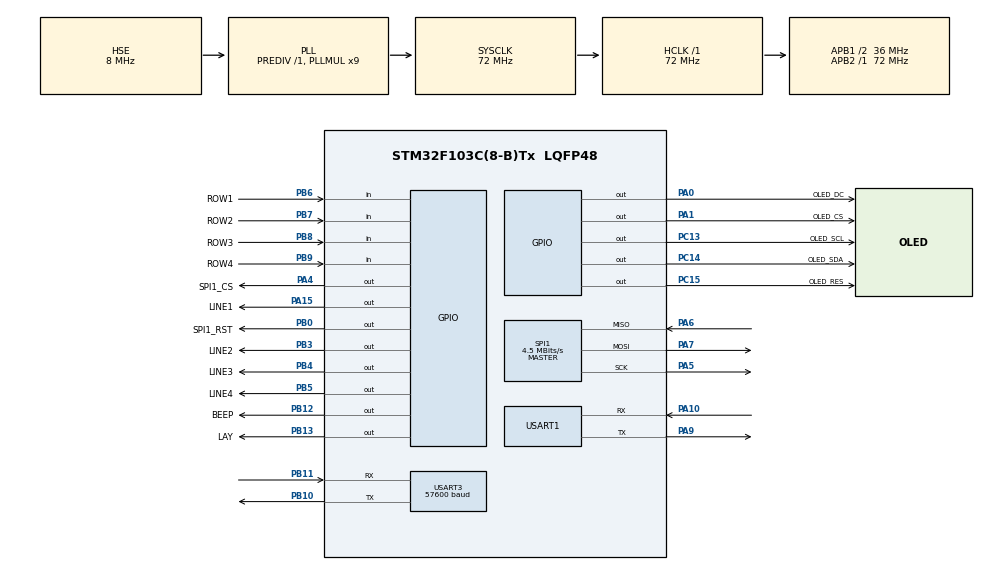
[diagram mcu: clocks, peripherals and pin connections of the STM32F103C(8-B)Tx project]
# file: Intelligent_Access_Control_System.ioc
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Dma.Request0=USART1_RX
Dma.Request1=USART1_TX
Dma.USART1_RX.0.Direction=DMA_PERIPH_TO_MEMORY
Dma.USART1_RX.0.Instance=DMA1_Channel5
Dma.USART1_RX.0.MemDataAlignment=DMA_MDATAALIGN_BYTE
Dma.USART1_RX.0.MemInc=DMA_MINC_ENABLE
Dma.USART1_RX.0.Mode=DMA_NORMAL
Dma.USART1_RX.0.PeriphDataAlignment=DMA_PDATAALIGN_BYTE
Dma.USART1_RX.0.PeriphInc=DMA_PINC_DISABLE
Dma.USART1_RX.0.Priority=DMA_PRIORITY_LOW
Dma.USART1_TX.1.Direction=DMA_MEMORY_TO_PERIPH
Dma.USART1_TX.1.Instance=DMA1_Channel4
Dma.USART1_TX.1.MemDataAlignment=DMA_MDATAALIGN_BYTE
Dma.USART1_TX.1.MemInc=DMA_MINC_ENABLE
Dma.USART1_TX.1.Mode=DMA_NORMAL
Dma.USART1_TX.1.PeriphDataAlignment=DMA_PDATAALIGN_BYTE
Dma.USART1_TX.1.PeriphInc=DMA_PINC_DISABLE
Dma.USART1_TX.1.Priority=DMA_PRIORITY_LOW
Mcu.Family=STM32F1
Mcu.Name=STM32F103C(8-B)Tx
Mcu.Package=LQFP48
NVIC.DMA1_Channel4_IRQn=true\:0\:0\:false\:false\:true\:false\:true\:true
NVIC.DMA1_Channel5_IRQn=true\:0\:0\:false\:false\:true\:false\:true\:true
NVIC.PriorityGroup=NVIC_PRIORITYGROUP_4
NVIC.SPI1_IRQn=true\:0\:0\:false\:false\:true\:true\:true\:true
NVIC.USART1_IRQn=true\:1\:0\:true\:false\:true\:true\:true\:true
NVIC.USART3_IRQn=true\:2\:0\:true\:false\:true\:true\:true\:true
PA0-WKUP.GPIO_Label=OLED_DC
PA0-WKUP.GPIO_ModeDefaultOutputPP=GPIO_MODE_OUTPUT_PP
PA0-WKUP.GPIO_PuPd=GPIO_PULLUP
PA0-WKUP.GPIO_Speed=GPIO_SPEED_FREQ_HIGH
PA0-WKUP.PinState=GPIO_PIN_SET
PA0-WKUP.Signal=GPIO_Output
PA1.GPIO_Label=OLED_CS
PA1.GPIO_ModeDefaultOutputPP=GPIO_MODE_OUTPUT_PP
PA1.GPIO_PuPd=GPIO_PULLUP
PA1.GPIO_Speed=GPIO_SPEED_FREQ_HIGH
PA1.PinState=GPIO_PIN_SET
PA1.Signal=GPIO_Output
PA10.Mode=Asynchronous
PA10.Signal=USART1_RX
PA13.Mode=Serial_Wire
PA13.Signal=SYS_JTMS-SWDIO
PA14.Mode=Serial_Wire
PA14.Signal=SYS_JTCK-SWCLK
PA15.GPIO_Label=LINE1
PA15.GPIO_Speed=GPIO_SPEED_FREQ_HIGH
PA15.PinState=GPIO_PIN_SET
PA15.Signal=GPIO_Output
PA4.GPIO_Label=SPI1_CS
PA4.GPIO_PuPd=GPIO_PULLUP
PA4.GPIO_Speed=GPIO_SPEED_FREQ_HIGH
PA4.PinState=GPIO_PIN_SET
PA4.Signal=GPIO_Output
PA5.Mode=Full_Duplex_Master
PA5.Signal=SPI1_SCK
PA6.Mode=Full_Duplex_Master
PA6.Signal=SPI1_MISO
PA7.Mode=Full_Duplex_Master
PA7.Signal=SPI1_MOSI
PA9.Mode=Asynchronous
PA9.Signal=USART1_TX
PB0.GPIO_Label=SPI1_RST
PB0.GPIO_ModeDefaultOutputPP=GPIO_MODE_OUTPUT_PP
PB0.GPIO_PuPd=GPIO_PULLUP
PB0.GPIO_Speed=GPIO_SPEED_FREQ_HIGH
PB0.PinState=GPIO_PIN_SET
PB0.Signal=GPIO_Output
PB10.Mode=Asynchronous
PB10.Signal=USART3_TX
PB11.Mode=Asynchronous
PB11.Signal=USART3_RX
PB12.GPIO_Label=BEEP
PB12.GPIO_ModeDefaultOutputPP=GPIO_MODE_OUTPUT_PP
PB12.GPIO_PuPd=GPIO_PULLUP
PB12.GPIO_Speed=GPIO_SPEED_FREQ_HIGH
PB12.PinState=GPIO_PIN_SET
PB12.Signal=GPIO_Output
PB13.GPIO_Label=LAY
PB13.GPIO_ModeDefaultOutputPP=GPIO_MODE_OUTPUT_PP
PB13.GPIO_PuPd=GPIO_PULLDOWN
PB13.GPIO_Speed=GPIO_SPEED_FREQ_HIGH
PB13.PinState=GPIO_PIN_SET
PB13.Signal=GPIO_Output
PB3.GPIO_Label=LINE2
PB3.GPIO_Speed=GPIO_SPEED_FREQ_HIGH
PB3.PinState=GPIO_PIN_SET
PB3.Signal=GPIO_Output
PB4.GPIO_Label=LINE3
PB4.GPIO_Speed=GPIO_SPEED_FREQ_HIGH
PB4.PinState=GPIO_PIN_SET
PB4.Signal=GPIO_Output
PB5.GPIO_Label=LINE4
PB5.GPIO_Speed=GPIO_SPEED_FREQ_HIGH
PB5.PinState=GPIO_PIN_SET
PB5.Signal=GPIO_Output
PB6.GPIO_Label=ROW1
PB6.GPIO_PuPd=GPIO_PULLUP
PB6.Signal=GPIO_Input
PB7.GPIO_Label=ROW2
PB7.GPIO_PuPd=GPIO_PULLUP
PB7.Signal=GPIO_Input
PB8.GPIO_Label=ROW3
PB8.GPIO_Mode=GPIO_MODE_INPUT
PB8.GPIO_PuPd=GPIO_PULLUP
PB8.Signal=GPIO_Input
PB9.GPIO_Label=ROW4
PB9.GPIO_PuPd=GPIO_PULLUP
PB9.Signal=GPIO_Input
PC13-TAMPER-RTC.GPIO_Label=OLED_SCL
PC13-TAMPER-RTC.GPIO_PuPd=GPIO_PULLUP
PC13-TAMPER-RTC.GPIO_Speed=GPIO_SPEED_FREQ_HIGH
PC13-TAMPER-RTC.PinState=GPIO_PIN_SET
PC13-TAMPER-RTC.Signal=GPIO_Output
PC14-OSC32_IN.GPIO_Label=OLED_SDA
PC14-OSC32_IN.GPIO_ModeDefaultOutputPP=GPIO_MODE_OUTPUT_PP
PC14-OSC32_IN.GPIO_PuPd=GPIO_PULLUP
PC14-OSC32_IN.GPIO_Speed=GPIO_SPEED_FREQ_HIGH
PC14-OSC32_IN.PinState=GPIO_PIN_SET
PC14-OSC32_IN.Signal=GPIO_Output
PC15-OSC32_OUT.GPIO_Label=OLED_RES
PC15-OSC32_OUT.GPIO_ModeDefaultOutputPP=GPIO_MODE_OUTPUT_PP
PC15-OSC32_OUT.GPIO_PuPd=GPIO_PULLUP
PC15-OSC32_OUT.GPIO_Speed=GPIO_SPEED_FREQ_HIGH
PC15-OSC32_OUT.PinState=GPIO_PIN_SET
PC15-OSC32_OUT.Signal=GPIO_Output
PD0-OSC_IN.Mode=HSE-External-Oscillator
PD0-OSC_IN.Signal=RCC_OSC_IN
PD1-OSC_OUT.Mode=HSE-External-Oscillator
PD1-OSC_OUT.Signal=RCC_OSC_OUT
ProjectManager.HeapSize=0x200
ProjectManager.StackSize=0x400
ProjectManager.TargetToolchain=MDK-ARM V5.32
RCC.AHBFreq_Value=72000000
RCC.APB1CLKDivider=RCC_HCLK_DIV2
RCC.APB1Freq_Value=36000000
RCC.APB1TimFreq_Value=72000000
RCC.APB2Freq_Value=72000000
RCC.APB2TimFreq_Value=72000000
RCC.HCLKFreq_Value=72000000
RCC.PLLMUL=RCC_PLL_MUL9
RCC.PLLSourceVirtual=RCC_PLLSOURCE_HSE
RCC.SYSCLKFreq_VALUE=72000000
RCC.SYSCLKSource=RCC_SYSCLKSOURCE_PLLCLK
RCC.USBFreq_Value=72000000
SPI1.BaudRatePrescaler=SPI_BAUDRATEPRESCALER_16
SPI1.CalculateBaudRate=4.5 MBits/s
SPI1.Direction=SPI_DIRECTION_2LINES
SPI1.Mode=SPI_MODE_MASTER
SPI1.VirtualType=VM_MASTER
USART1.VirtualMode=VM_ASYNC
USART3.BaudRate=57600
USART3.VirtualMode=VM_ASYNC
board=custom

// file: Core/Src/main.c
/* USER CODE BEGIN Header */
/**
  ******************************************************************************
  * @file           : main.c
  * @brief          : Main program body
  ******************************************************************************
  * @attention
  *
  * Copyright (c) 2026 STMicroelectronics.
  * All rights reserved.
  *
  * This software is licensed under terms that can be found in the LICENSE file
  * in the root directory of this software component.
  * If no LICENSE file comes with this software, it is provided AS-IS.
  *
  ******************************************************************************
  */
/* USER CODE END Header */
#include "main.h"
#include "dma.h"
#include "spi.h"
#include "usart.h"
#include "gpio.h"

/* USER CODE BEGIN Includes */
#include "oled.h"
#include "Matrix_Keyboard.h"
#include "RC522.h"
#include "flash.h"
#include "ui.h"
#include <string.h>
#include "beep_lay.h"
#include "AS608.h"
#include "esp8266.h"
/* USER CODE END Includes */

/* USER CODE BEGIN PTD */
typedef enum {
    MODE_MAIN,
    MODE_PIN,
    MODE_PIN_SETTING,
    MODE_PIN_CONFIRM,
    MODE_NFC_REGISTER,
    MODE_NFC_UNREGISTER,
    MODE_FINGER_REGISTER,
    MODE_FINGER_UNREGISTER
} SystemMode;
/* USER CODE END PTD */

/* USER CODE BEGIN PD */
#define MAX_NFC_RETRY 3
#define MAX_PIN_RETRY 3
#define RELAY_ON_TIME 5000
/* USER CODE END PD */

/* USER CODE BEGIN PV */
SystemMode currentMode = MODE_MAIN;
uint8_t nfcRetryCount = 0;
uint8_t pinRetryCount = 0;
uint8_t oldPinRetryCount = 0;
uint8_t fingerRetryCount = 0;
uint8_t currentPin[4];
uint8_t pinIndex = 0;
uint8_t newPin[4];
uint8_t confirmPin[4];
uint8_t isPinSettingMode = 0;
/* USER CODE END PV */

void SystemClock_Config(void);
/* USER CODE BEGIN PFP */
void ClearPIN(void);
void CheckPIN(void);
void CheckPinSetting(void);
void SaveNewPIN(void);
uint8_t KeyToDigit(uint8_t key);
uint32_t ReadNFCID(void);
void RegisterNFC(void);
void UnregisterNFC(void);
void RegisterFingerprint(void);
void UnregisterFingerprint(void);
/* USER CODE END PFP */

/* USER CODE BEGIN 0 */
void ClearPIN(void)
{
    memset(currentPin, 0, sizeof(currentPin));
    memset(newPin, 0, sizeof(newPin));
    memset(confirmPin, 0, sizeof(confirmPin));
    pinIndex = 0;
    OLED_ShowString(32, 8, (uint8_t*)"    ", 8, 1);
    OLED_Refresh();
}

void welcome_with_pin(uint8_t* pin) {
    OLED_ShowString(10, 0, (uint8_t*)"Welcome", 8, 1);
    char pinStr[5];
    sprintf(pinStr, "%d%d%d%d", pin[0], pin[1], pin[2], pin[3]);
    OLED_ShowString(0, 16, (uint8_t*)pinStr, 8, 1);
    OLED_ShowString(0, 32, (uint8_t*)"Press KEY16 for PIN", 8, 1);
    OLED_Refresh();
}

// 读取NFC卡片ID
// 返回值：卡片ID，0表示没有卡片靠近
uint32_t ReadNFCID(void)
{
    uint8_t cardType[2];
    uint8_t cardID[4];
    char status;

    // 请求卡片
    status = PCD_Request(PICC_REQIDL, cardType);
    if(status != PCD_OK)
    {
        return 0; // 没有卡片靠近
    }

    // 防碰撞，读取卡片ID
    status = PCD_Anticoll(cardID);
    if(status != PCD_OK)
    {
        return 0; // 读取卡片ID失败
    }

    // 将4字节的卡片ID转换为32位整数
    uint32_t nfcId = (cardID[0] << 24) | (cardID[1] << 16) | (cardID[2] << 8) | cardID[3];

    return nfcId;
}

// 注册NFC卡片
void RegisterNFC(void)
{
    uint32_t nfcId = 0;
    uint32_t startTime = HAL_GetTick();
    uint32_t timeout = 10000; // 10秒超时

    // 等待用户放置卡片，最多等待10秒
    while((HAL_GetTick() - startTime) < timeout)
    {
        nfcId = ReadNFCID();
        if(nfcId != 0)
        {
            break; // 读取到卡片ID，退出循环
        }
        HAL_Delay(100); // 短暂延迟，避免频繁读取
    }

    if(nfcId == 0)
    {
        // 超时，没有卡片靠近
        OLED_ShowString(0, 24, (uint8_t*)"Timeout!", 8, 1);
        OLED_Refresh();
        HAL_Delay(1000);
    } else {
        // 尝试添加到FLASH
        uint8_t result = Flash_AddNFCID(nfcId);

        if(result == 0)
        {
            // 注册成功
            OLED_ShowString(0, 24, (uint8_t*)"Registered!", 8, 1);
            OLED_Refresh();
            HAL_Delay(1000);
        } else if(result == 1)
        {
            // 已满
            OLED_ShowString(0, 24, (uint8_t*)"Full!", 8, 1);
            OLED_Refresh();
            HAL_Delay(1000);
        } else if(result == 2)
        {
            // 已存在
            OLED_ShowString(0, 24, (uint8_t*)"Exists!", 8, 1);
            OLED_Refresh();
            HAL_Delay(1000);
        }
    }

    // 完全清除OLED屏幕
    OLED_Clear();
    OLED_Refresh();

    // 重新绘制主页面内容（welcome页面）
    welcome();

    // 返回主页面
    currentMode = MODE_MAIN;
}

// 注销NFC卡片
void UnregisterNFC(void)
{
    uint32_t nfcId = 0;
    uint32_t startTime = HAL_GetTick();
    uint32_t timeout = 10000; // 10秒超时

    // 等待用户放置卡片，最多等待10秒
    while((HAL_GetTick() - startTime) < timeout)
    {
        nfcId = ReadNFCID();
        if(nfcId != 0)
        {
            break; // 读取到卡片ID，退出循环
        }
        HAL_Delay(100); // 短暂延迟，避免频繁读取
    }

    if(nfcId == 0)
    {
        // 超时，没有卡片靠近
        OLED_ShowString(0, 24, (uint8_t*)"Timeout!", 8, 1);
        OLED_Refresh();
        HAL_Delay(1000);
    } else {
        // 尝试从FLASH中删除
        uint8_t result = Flash_RemoveNFCID(nfcId);

        if(result == 0)
        {
            // 注销成功
            OLED_ShowString(0, 24, (uint8_t*)"Unregistered!", 8, 1);
            OLED_Refresh();
            HAL_Delay(1000);
        } else if(result == 1)
        {
            // 未找到
            OLED_ShowString(0, 24, (uint8_t*)"Not found!", 8, 1);
            OLED_Refresh();
            HAL_Delay(1000);
        }
    }

    // 完全清除OLED屏幕
    OLED_Clear();
    OLED_Refresh();

    // 重新绘制主页面内容（welcome页面）
    welcome();

    // 返回主页面
    currentMode = MODE_MAIN;
}

// 注册指纹
void RegisterFingerprint(void)
{
    uint8_t result;
    uint8_t processnum = 0;
    uint8_t i = 0;
    uint16_t pageID = 0;
    uint8_t found = 0;
    uint16_t score = 0;
    uint16_t tempPageID = 0;

    while(1)
    {
        switch(processnum)
        {
            case 0:
                // 清除显示
                OLED_ShowString(0, 0, (uint8_t*)"                ", 8, 1);
                OLED_ShowString(0, 8, (uint8_t*)"                ", 8, 1);
                OLED_ShowString(0, 16, (uint8_t*)"                ", 8, 1);
                OLED_ShowString(0, 24, (uint8_t*)"                ", 8, 1);
                OLED_Refresh();
                HAL_Delay(500); // 增加延迟时间

                i++;
                OLED_ShowString(0, 0, (uint8_t*)"Place finger", 8, 1);
                OLED_ShowString(0, 8, (uint8_t*)"to register", 8, 1);
                OLED_ShowString(0, 16, (uint8_t*)"First scan", 8, 1);
                OLED_ShowString(0, 24, (uint8_t*)"                ", 8, 1);
                OLED_Refresh();
                HAL_Delay(1000); // 增加延迟时间

                // 采集指纹图像
                result = AS608_GetImage();
                if(result == AS608_ACK_OK)
                {
                    // 生成特征
                    result = AS608_GenChar(AS608_BUFFER_CHAR1);
                    if(result == AS608_ACK_OK)
                    {
                        OLED_ShowString(0, 16, (uint8_t*)"First ok!        ", 8, 1);
                        OLED_Refresh();
                        HAL_Delay(1500); // 增加延迟时间
                        i = 0;
                        processnum = 1; // 进入第二步
                    }
                    else
                    {
                        OLED_ShowString(0, 24, (uint8_t*)"Gen failed!      ", 8, 1);
                        OLED_Refresh();
                        HAL_Delay(2000); // 增加延迟时间
                    }
                }
                else
                {
                    if(i % 5 == 0)
                    {
                        OLED_ShowString(0, 24, (uint8_t*)"No finger!       ", 8, 1);
                        OLED_Refresh();
                        HAL_Delay(1000); // 增加延迟时间
                        OLED_ShowString(0, 24, (uint8_t*)"                ", 8, 1);
                        OLED_Refresh();
                    }
                }
                break;

            case 1:
                i++;
                OLED_ShowString(0, 16, (uint8_t*)"Place again      ", 8, 1);
                OLED_ShowString(0, 24, (uint8_t*)"                ", 8, 1);
                OLED_Refresh();
                HAL_Delay(1000); // 增加延迟时间

                // 第二次采集指纹
                result = AS608_GetImage();
                if(result == AS608_ACK_OK)
                {
                    // 生成第二个特征
                    result = AS608_GenChar(AS608_BUFFER_CHAR2);
                    if(result == AS608_ACK_OK)
                    {
                        OLED_ShowString(0, 16, (uint8_t*)"Second ok!       ", 8, 1);
                        OLED_Refresh();
                        HAL_Delay(1500); // 增加延迟时间
                        i = 0;
                        processnum = 2; // 进入第三步
                    }
                    else
                    {
                        OLED_ShowString(0, 24, (uint8_t*)"Gen failed!      ", 8, 1);
                        OLED_Refresh();
                        HAL_Delay(2000); // 增加延迟时间
                    }
                }
                else
                {
                    if(i % 5 == 0)
                    {
                        OLED_ShowString(0, 24, (uint8_t*)"No finger!       ", 8, 1);
                        OLED_Refresh();
                        HAL_Delay(1000); // 增加延迟时间
                        OLED_ShowString(0, 24, (uint8_t*)"                ", 8, 1);
                        OLED_Refresh();
                    }
                }
                break;

            case 2:
                // 比较两个特征
                OLED_ShowString(0, 16, (uint8_t*)"Matching...      ", 8, 1);
                OLED_ShowString(0, 24, (uint8_t*)"                ", 8, 1);
                OLED_Refresh();
                HAL_Delay(1000); // 增加延迟时间

                result = AS608_Match(&score);
                if(result == AS608_ACK_OK)
                {
                    OLED_ShowString(0, 16, (uint8_t*)"Matched!         ", 8, 1);
                    OLED_Refresh();
                    HAL_Delay(1500); // 增加延迟时间
                    processnum = 3; // 进入第四步
                }
                else
                {
                    OLED_ShowString(0, 24, (uint8_t*)"Not same!        ", 8, 1);
                    OLED_Refresh();
                    HAL_Delay(2000); // 增加延迟时间
                    processnum = 0; // 重新开始
                }
                break;

            case 3:
                // 合并特征
                OLED_ShowString(0, 16, (uint8_t*)"Processing...    ", 8, 1);
                OLED_ShowString(0, 24, (uint8_t*)"                ", 8, 1);
                OLED_Refresh();
                HAL_Delay(1000); // 增加延迟时间

                result = AS608_RegModel();
                if(result == AS608_ACK_OK)
                {
                    OLED_ShowString(0, 16, (uint8_t*)"Merged!          ", 8, 1);
                    OLED_Refresh();
                    HAL_Delay(1500); // 增加延迟时间
                    processnum = 4; // 进入第五步
                }
                else
                {
                    OLED_ShowString(0, 24, (uint8_t*)"Merge failed!    ", 8, 1);
                    OLED_Refresh();
                    HAL_Delay(2000); // 增加延迟时间
                    processnum = 0; // 重新开始
                }
                break;

            case 4:
                // 查找可用的ID
                OLED_ShowString(0, 16, (uint8_t*)"Finding ID...    ", 8, 1);
                OLED_ShowString(0, 24, (uint8_t*)"                ", 8, 1);
                OLED_Refresh();
                HAL_Delay(1000); // 增加延迟时间

                // 逐个查找可用ID，从0开始
                pageID = 0;
                found = 0;

                // 先检查指纹库是否为空
                uint16_t score = 0;
                uint16_t tempID = 0;
                result = AS608_Search(AS608_BUFFER_CHAR1, 0, AS608_MAX_FINGER_NUM, &tempID, &score);

                if(result == AS608_ACK_NO_FOUND)
                {
                    // 指纹库为空，直接使用ID 0
                    pageID = 0;
                    found = 1;
                }
                else
                {
                    // 指纹库不为空，逐个查找可用ID
                    while(pageID < AS608_MAX_FINGER_NUM)
                    {
                        // 尝试加载指定ID的指纹
                        result = AS608_LoadChar(AS608_BUFFER_CHAR1, pageID);
                        if(result != AS608_ACK_OK)
                        {
                            // 该ID不存在，可用
                            found = 1;
                            break;
                        }
                        pageID++;
                    }

                    if(!found)
                    {
                        // 如果没找到可用ID，从0开始重新查找
                        pageID = 0;
                        found = 1;
                    }
                }

                // 显示找到的ID
                char id_str[16];
                sprintf(id_str, "ID:%d            ", pageID);
                OLED_ShowString(0, 24, (uint8_t*)id_str, 8, 1);
                OLED_Refresh();
                HAL_Delay(1000); // 增加延迟时间

                processnum = 5; // 进入第六步
                break;

            case 5:
                // 存储指纹
                OLED_ShowString(0, 16, (uint8_t*)"Storing...       ", 8, 1);
                OLED_ShowString(0, 24, (uint8_t*)"                ", 8, 1);
                OLED_Refresh();
                HAL_Delay(1000); // 增加延迟时间

                result = AS608_StoreChar(AS608_BUFFER_CHAR2, pageID);
                if(result == AS608_ACK_OK)
                {
                    // 清除旧内容
                    OLED_ShowString(0, 16, (uint8_t*)"                ", 8, 1);
                    OLED_ShowString(0, 24, (uint8_t*)"                ", 8, 1);
                    OLED_Refresh();

                    // 显示注册成功信息
                    OLED_ShowString(0, 0, (uint8_t*)"Registered!      ", 8, 1);
                    char id_str[16];
                    sprintf(id_str, "ID:%d            ", pageID);
                    OLED_ShowString(0, 8, (uint8_t*)id_str, 8, 1);
                    OLED_ShowString(0, 16, (uint8_t*)"Success!         ", 8, 1);
                    OLED_ShowString(0, 24, (uint8_t*)"                ", 8, 1);
                    OLED_Refresh();
                    HAL_Delay(2500); // 增加延迟时间，确保用户能看到
                    goto cleanup;
                }
                else
                {
                    OLED_ShowString(0, 24, (uint8_t*)"Store failed!    ", 8, 1);
                    OLED_Refresh();
                    HAL_Delay(2000); // 增加延迟时间
                    processnum = 0; // 重新开始
                }
                break;
        }
        HAL_Delay(100);
    }

cleanup:
    // 完全清除OLED屏幕
    OLED_Clear();
    OLED_Refresh();

    // 重新绘制主页面内容（welcome页面）
    welcome();

    // 返回主页面
    currentMode = MODE_MAIN;
}

void DeleteFingerprint(void)
{
    uint8_t result;
    uint8_t processnum = 0;
    uint8_t i = 0;
    uint16_t fingerID = 0;
    uint16_t score = 0;

    while(1)
    {
        switch(processnum)
        {
            case 0:
                // 清除显示
                OLED_ShowString(0, 0, (uint8_t*)"                ", 8, 1);
                OLED_ShowString(0, 8, (uint8_t*)"                ", 8, 1);
                OLED_ShowString(0, 16, (uint8_t*)"                ", 8, 1);
                OLED_ShowString(0, 24, (uint8_t*)"                ", 8, 1);
                OLED_Refresh();
                HAL_Delay(500); // 增加延迟时间

                i++;
                OLED_ShowString(0, 0, (uint8_t*)"Place finger", 8, 1);
                OLED_ShowString(0, 8, (uint8_t*)"to delete", 8, 1);
                OLED_ShowString(0, 16, (uint8_t*)"Scan finger", 8, 1);
                OLED_ShowString(0, 24, (uint8_t*)"                ", 8, 1);
                OLED_Refresh();
                HAL_Delay(1000); // 增加延迟时间

                // 采集指纹图像
                result = AS608_GetImage();
                if(result == AS608_ACK_OK)
                {
                    // 生成特征
                    result = AS608_GenChar(AS608_BUFFER_CHAR1);
                    if(result == AS608_ACK_OK)
                    {
                        OLED_ShowString(0, 16, (uint8_t*)"Finger scanned!  ", 8, 1);
                        OLED_Refresh();
                        HAL_Delay(1500); // 增加延迟时间
                        i = 0;
                        processnum = 1; // 进入第二步
                    }
                    else
                    {
                        OLED_ShowString(0, 24, (uint8_t*)"Gen failed!      ", 8, 1);
                        OLED_Refresh();
                        HAL_Delay(2000); // 增加延迟时间
                    }
                }
                else
                {
                    if(i % 5 == 0)
                    {
                        OLED_ShowString(0, 24, (uint8_t*)"No finger!       ", 8, 1);
                        OLED_Refresh();
                        HAL_Delay(1000); // 增加延迟时间
                        OLED_ShowString(0, 24, (uint8_t*)"                ", 8, 1);
                        OLED_Refresh();
                    }
                }
                break;

            case 1:
                // 搜索指纹
                OLED_ShowString(0, 16, (uint8_t*)"Searching...     ", 8, 1);
                OLED_ShowString(0, 24, (uint8_t*)"                ", 8, 1);
                OLED_Refresh();
                HAL_Delay(1000); // 增加延迟时间

                result = AS608_Search(AS608_BUFFER_CHAR1, 0, AS608_MAX_FINGER_NUM, &fingerID, &score);
                if(result == AS608_ACK_OK)
                {
                    // 找到指纹，显示ID
                    char id_str[16];
                    sprintf(id_str, "Found ID:%d       ", fingerID);
                    OLED_ShowString(0, 16, (uint8_t*)id_str, 8, 1);
                    OLED_Refresh();
                    HAL_Delay(1500); // 增加延迟时间
                    processnum = 2; // 进入第三步
                }
                else if(result == AS608_ACK_NO_FOUND)
                {
                    OLED_ShowString(0, 24, (uint8_t*)"Not found!       ", 8, 1);
                    OLED_Refresh();
                    HAL_Delay(2000); // 增加延迟时间
                    goto cleanup;
                }
                else
                {
                    OLED_ShowString(0, 24, (uint8_t*)"Search failed!   ", 8, 1);
                    OLED_Refresh();
                    HAL_Delay(2000); // 增加延迟时间
                    goto cleanup;
                }
                break;

            case 2:
                // 删除指纹
                OLED_ShowString(0, 16, (uint8_t*)"Deleting...      ", 8, 1);
                OLED_ShowString(0, 24, (uint8_t*)"                ", 8, 1);
                OLED_Refresh();
                HAL_Delay(1000); // 增加延迟时间

                result = AS608_DeleteChar(fingerID, 1);
                if(result == AS608_ACK_OK)
                {
                    // 清除旧内容
                    OLED_ShowString(0, 16, (uint8_t*)"                ", 8, 1);
                    OLED_ShowString(0, 24, (uint8_t*)"                ", 8, 1);
                    OLED_Refresh();

                    // 显示删除成功信息
                    OLED_ShowString(0, 0, (uint8_t*)"Deleted!         ", 8, 1);
                    char id_str[16];
                    sprintf(id_str, "ID:%d            ", fingerID);
                    OLED_ShowString(0, 8, (uint8_t*)id_str, 8, 1);
                    OLED_ShowString(0, 16, (uint8_t*)"Success!         ", 8, 1);
                    OLED_ShowString(0, 24, (uint8_t*)"                ", 8, 1);
                    OLED_Refresh();
                    HAL_Delay(1000); // 增加延迟时间，确保用户能看到

                    // 再次搜索指纹，确认删除成功
                    OLED_ShowString(0, 16, (uint8_t*)"Verifying...     ", 8, 1);
                    OLED_Refresh();
                    HAL_Delay(1000);

                    // 重新采集指纹图像
                    result = AS608_GetImage();
                    if(result == AS608_ACK_OK)
                    {
                        // 生成特征
                        result = AS608_GenChar(AS608_BUFFER_CHAR1);
                        if(result == AS608_ACK_OK)
                        {
                            // 搜索指纹
                            uint16_t verifyID = 0;
                            uint16_t verifyScore = 0;
                            result = AS608_Search(AS608_BUFFER_CHAR1, 0, AS608_MAX_FINGER_NUM, &verifyID, &verifyScore);
                            if(result == AS608_ACK_NO_FOUND)
                            {
                                OLED_ShowString(0, 16, (uint8_t*)"Delete confirmed!", 8, 1);
                                OLED_Refresh();
                                HAL_Delay(1500);
                            }
                            else
                            {
                                OLED_ShowString(0, 16, (uint8_t*)"Delete failed!   ", 8, 1);
                                OLED_Refresh();
                                HAL_Delay(1500);
                            }
                        }
                    }

                    goto cleanup;
                }
                else
                {
                    OLED_ShowString(0, 24, (uint8_t*)"Delete failed!   ", 8, 1);
                    OLED_Refresh();
                    HAL_Delay(2000); // 增加延迟时间
                    goto cleanup;
                }
                break;
        }
        HAL_Delay(100);
    }

cleanup:
    // 完全清除OLED屏幕
    OLED_Clear();
    OLED_Refresh();

    // 重新绘制主页面内容（welcome页面）
    welcome();

    // 返回主页面
    currentMode = MODE_MAIN;
}

// 注销指纹
void UnregisterFingerprint(void)
{
    OLED_ShowString(0, 0, (uint8_t*)"Place finger", 8, 1);
    OLED_ShowString(0, 8, (uint8_t*)"to unregister", 8, 1);
    OLED_ShowString(0, 16, (uint8_t*)"                ", 8, 1);
    OLED_ShowString(0, 24, (uint8_t*)"                ", 8, 1);
    OLED_Refresh();

    // 显示正在验证指纹
    OLED_ShowString(0, 16, (uint8_t*)"Verifying...", 8, 1);
    OLED_Refresh();

    // 等待用户放置指纹
    uint16_t pageID = 0;
    uint16_t score = 0;
    uint8_t result = AS608_VerifyFinger(&pageID, &score);

    // 清除验证状态显示
    OLED_ShowString(0, 16, (uint8_t*)"                ", 8, 1);
    OLED_Refresh();

    if(result == AS608_ACK_OK)
    {
        // 显示正在删除
        OLED_ShowString(0, 16, (uint8_t*)"Deleting...", 8, 1);
        OLED_Refresh();

        // 找到指纹，删除它
        result = AS608_DeleteChar(pageID, 1);

        // 清除删除状态显示
        OLED_ShowString(0, 16, (uint8_t*)"                ", 8, 1);
        OLED_Refresh();

        if(result == AS608_ACK_OK)
        {
            // 注销成功
            OLED_ShowString(0, 24, (uint8_t*)"Unregistered!", 8, 1);
            OLED_Refresh();
            HAL_Delay(1000);
        } else {
            // 注销失败
            OLED_ShowString(0, 24, (uint8_t*)"Failed!", 8, 1);
            OLED_Refresh();
            HAL_Delay(1000);
        }
    } else {
        // 未找到指纹
        OLED_ShowString(0, 24, (uint8_t*)"Not found!", 8, 1);
        OLED_Refresh();
        HAL_Delay(1000);
    }

    // 完全清除OLED屏幕
    OLED_Clear();
    OLED_Refresh();

    // 重新绘制主页面内容（welcome页面）
    welcome();

    // 返回主页面
    currentMode = MODE_MAIN;
}

/* USER CODE END 0 */

int main(void)
{

  /* USER CODE BEGIN 1 */
  uint8_t wifi_try = 0, mqtt_try = 0;
  /* USER CODE END 1 */

  /* MCU Configuration--------------------------------------------------------*/

  /* Reset of all peripherals, Initializes the Flash interface and the Systick. */
  HAL_Init();

  /* Configure the system clock */
  SystemClock_Config();

  /* Initialize all configured peripherals */
  MX_GPIO_Init();
  MX_DMA_Init();
  MX_USART3_UART_Init();
  MX_SPI1_Init();
  MX_USART1_UART_Init();
  /* USER CODE BEGIN 2 */
	Relay_Off();
  OLED_Init();
  PCD_Init();
  Flash_Init();
  AS608_Init();

  // 检测AS608握手
  OLED_ShowString(0, 0, (uint8_t*)"Checking AS608...", 8, 1);
  OLED_Refresh();

  // 尝试握手
  uint32_t as608_addr = 0xffffffff;
  uint8_t handshake_result = AS608_HandShake(&as608_addr);

  if(handshake_result == AS608_ACK_OK) {
      OLED_ShowString(0, 16, (uint8_t*)"Handshake OK!", 8, 1);
      // 显示设备地址
      char addr_str[17];
      sprintf(addr_str, "Addr: %08X", as608_addr);
      OLED_ShowString(0, 24, (uint8_t*)addr_str, 8, 1);
  } else {
      OLED_ShowString(0, 16, (uint8_t*)"Handshake Fail!", 8, 1);
      // 显示错误码
      char error_str[16];
      sprintf(error_str, "Error: %02X", handshake_result);
      OLED_ShowString(0, 24, (uint8_t*)error_str, 8, 1);
  }
  OLED_Refresh();
  HAL_Delay(2000);
	OLED_Clear();
  	ESP8266_Init();

	  //WIFI连接
  while (wifi_try < 5 && !ESP8266_ConnectWiFi())
  {
      wifi_try++;
      HAL_Delay(1000);
  }

		  //上云
	if(ESP8266_ConnectCloud()==false)
	{
		  while(1);
	}
	HAL_Delay(5000);
	ESP8266_Clear();
	OLED_Clear();

		//订阅
	if(!ESP8266_MQTT_Subscribe(MQTT_TOPIC_POST_REPLY,1))
	{
		  while(1);
	}
			if(!ESP8266_MQTT_Subscribe(MQTT_TOPIC_SET,0))
	{
		  while(1);
	}
  welcome();

  /* USER CODE END 2 */

  /* Infinite loop */
  while (1)
  {

    /* USER CODE BEGIN 3 */
    // 主页面NFC卡片检测
    if(currentMode == MODE_MAIN) {
        uint32_t nfcId = ReadNFCID();
        if(nfcId != 0) {
            // 读取FLASH中存储的NFC ID
            uint32_t nfcIds[MAX_NFC_IDS];
            uint8_t count = Flash_ReadNFCIDs(nfcIds);

            // 检查卡片ID是否在FLASH中
            uint8_t found = 0;
            for(uint8_t i = 0; i < count; i++) {
                if(nfcIds[i] == nfcId) {
                    found = 1;
                    break;
                }
            }

            if(found) {
                // 卡片已注册，重置失败计数
                nfcRetryCount = 0;
                // 卡片已注册，拉高LAY
                Relay_On();
                OLED_ShowString(0, 24, (uint8_t*)"Success!", 8, 1);
                OLED_Refresh();
                HAL_Delay(RELAY_ON_TIME);
                // 关闭LAY
                Relay_Off();
                OLED_ShowString(0, 24, (uint8_t*)"        ", 8, 1);
                OLED_Refresh();
            } else {
                // 卡片未注册，增加失败计数
                nfcRetryCount++;
                // 显示错误信息
                OLED_ShowString(0, 24, (uint8_t*)"Error!", 8, 1);
                OLED_Refresh();
                HAL_Delay(1000);
                OLED_ShowString(0, 24, (uint8_t*)"        ", 8, 1);
                OLED_Refresh();
                if(nfcRetryCount >= MAX_PIN_RETRY) {
                    // 失败3次，拉低BEEP 5秒后关闭
                    Beep_On();
                    OLED_ShowString(0, 24, (uint8_t*)"Alarm!", 8, 1);
                    OLED_Refresh();
                    HAL_Delay(5000); // 5秒
                    Beep_Off();
                    OLED_ShowString(0, 24, (uint8_t*)"        ", 8, 1);
                    OLED_Refresh();
                    nfcRetryCount = 0;
                }
            }
        }

        // 主页面指纹检测（不使用PS_STA引脚）
        static uint32_t lastFingerCheckTime = 0;
        uint32_t currentTime = HAL_GetTick();

        // 每500ms检测一次指纹，避免频繁检测影响性能
        if(currentTime - lastFingerCheckTime >= 500) {
            lastFingerCheckTime = currentTime;

            uint16_t fingerID = 0;
            uint16_t score = 0;
            uint8_t fingerResult = AS608_VerifyFinger(&fingerID, &score);

            // 处理指纹验证结果
            if(fingerResult == AS608_ACK_OK) {
                // 指纹验证成功，重置失败计数
                fingerRetryCount = 0;
                // 指纹已注册，拉高LAY
                Relay_On();
                OLED_ShowString(0, 24, (uint8_t*)"Success!", 8, 1);
                OLED_Refresh();
                HAL_Delay(RELAY_ON_TIME);
                // 关闭LAY
                Relay_Off();
                OLED_ShowString(0, 24, (uint8_t*)"        ", 8, 1);
                OLED_Refresh();
            } else if(fingerResult == AS608_ACK_NO_FINGER) {
                // 无指纹，不显示任何信息
            } else if(fingerResult == AS608_ACK_NO_FOUND) {
                // 指纹未找到，增加失败计数
                fingerRetryCount++;
                // 显示错误信息
                OLED_ShowString(0, 24, (uint8_t*)"Error!", 8, 1);
                OLED_Refresh();
                HAL_Delay(1000);
                OLED_ShowString(0, 24, (uint8_t*)"        ", 8, 1);
                OLED_Refresh();
                if(fingerRetryCount >= MAX_PIN_RETRY) {
                    // 失败3次，拉低BEEP 5秒后关闭
                    Beep_On();
                    OLED_ShowString(0, 24, (uint8_t*)"Alarm!", 8, 1);
                    OLED_Refresh();
                    HAL_Delay(5000); // 5秒
                    Beep_Off();
                    OLED_ShowString(0, 24, (uint8_t*)"        ", 8, 1);
                    OLED_Refresh();
                    fingerRetryCount = 0;
                }
            } else {
                // 其他错误，增加失败计数
                fingerRetryCount++;
                // 显示错误信息
                OLED_ShowString(0, 24, (uint8_t*)"Error!", 8, 1);
                OLED_Refresh();
                HAL_Delay(1000);
                OLED_ShowString(0, 24, (uint8_t*)"        ", 8, 1);
                OLED_Refresh();
                if(fingerRetryCount >= MAX_PIN_RETRY) {
                    // 失败3次，拉低BEEP 5秒后关闭
                    Beep_On();
                    OLED_ShowString(0, 24, (uint8_t*)"Alarm!", 8, 1);
                    OLED_Refresh();
                    HAL_Delay(5000); // 5秒
                    Beep_Off();
                    OLED_ShowString(0, 24, (uint8_t*)"        ", 8, 1);
                    OLED_Refresh();
                    fingerRetryCount = 0;
                }
            }
        }
    }

    // 处理ESP8266消息
    ESP8266_ProcessMessages();

    uint8_t key = Matrix_Keyboard_Scan();
    if(key != 0) {
        switch(currentMode) {
            case MODE_MAIN:
                if(key == 16) {
                    // 进入PIN输入模式
                    currentMode = MODE_PIN;
                    pinIndex = 0;
                    memset(currentPin, 0, sizeof(currentPin));
                    UI_ShowPINInput();
                } else if(key == 8) {
                    // 进入PIN设置模式
                    isPinSettingMode = 1;
                    currentMode = MODE_PIN;
                    pinIndex = 0;
                    oldPinRetryCount = 0;
                    memset(currentPin, 0, sizeof(currentPin));
                    OLED_ShowString(0, 0, (uint8_t*)"Enter Old PIN", 8, 1);
                    OLED_ShowString(0, 8, (uint8_t*)"Old PIN: ", 8, 1);
                    OLED_ShowString(48, 8, (uint8_t*)"____", 8, 1);
                    OLED_ShowString(0, 16, (uint8_t*)"Enter 4-digit PIN", 8, 1);
                    OLED_ShowString(0, 24, (uint8_t*)"                ", 8, 1);
                    OLED_Refresh();
                } else if(key == 13) {
                    // 进入NFC注册模式
                    isPinSettingMode = 2; // 标记为NFC注册模式
                    currentMode = MODE_PIN;
                    pinIndex = 0;
                    oldPinRetryCount = 0;
                    memset(currentPin, 0, sizeof(currentPin));
                    OLED_ShowString(0, 0, (uint8_t*)"Enter PIN to Register", 8, 1);
                    OLED_ShowString(0, 8, (uint8_t*)"PIN: ", 8, 1);
                    OLED_ShowString(48, 8, (uint8_t*)"____", 8, 1);
                    OLED_ShowString(0, 16, (uint8_t*)"Enter 4-digit PIN", 8, 1);
                    OLED_ShowString(0, 24, (uint8_t*)"                ", 8, 1);
                    OLED_Refresh();
                } else if(key == 15) {
                    // 进入NFC注销模式
                    isPinSettingMode = 3; // 标记为NFC注销模式
                    currentMode = MODE_PIN;
                    pinIndex = 0;
                    oldPinRetryCount = 0;
                    memset(currentPin, 0, sizeof(currentPin));
                    OLED_ShowString(0, 0, (uint8_t*)"Enter PIN to Unregister", 8, 1);
                    OLED_ShowString(0, 8, (uint8_t*)"PIN: ", 8, 1);
                    OLED_ShowString(48, 8, (uint8_t*)"____", 8, 1);
                    OLED_ShowString(0, 16, (uint8_t*)"Enter 4-digit PIN", 8, 1);
                    OLED_ShowString(0, 24, (uint8_t*)"                ", 8, 1);
                    OLED_Refresh();
                } else if(key == 4) {
                    // 进入指纹注册模式
                    isPinSettingMode = 4; // 标记为指纹注册模式
                    currentMode = MODE_PIN;
                    pinIndex = 0;
                    oldPinRetryCount = 0;
                    memset(currentPin, 0, sizeof(currentPin));
                    OLED_ShowString(0, 0, (uint8_t*)"Enter PIN to Register", 8, 1);
                    OLED_ShowString(0, 8, (uint8_t*)"Fingerprint", 8, 1);
                    OLED_ShowString(0, 16, (uint8_t*)"PIN: ", 8, 1);
                    OLED_ShowString(48, 16, (uint8_t*)"____", 8, 1);
                    OLED_ShowString(0, 24, (uint8_t*)"Enter 4-digit PIN", 8, 1);
                    OLED_Refresh();

                } else if(key == 12) {
                    // 进入指纹删除模式
                    isPinSettingMode = 5; // 标记为指纹删除模式
                    currentMode = MODE_PIN;
                    pinIndex = 0;
                    oldPinRetryCount = 0;
                    memset(currentPin, 0, sizeof(currentPin));
                    OLED_ShowString(0, 0, (uint8_t*)"Enter PIN to Delete", 8, 1);
                    OLED_ShowString(0, 8, (uint8_t*)"Fingerprint", 8, 1);
                    OLED_ShowString(0, 16, (uint8_t*)"PIN: ", 8, 1);
                    OLED_ShowString(48, 16, (uint8_t*)"____", 8, 1);
                    OLED_ShowString(0, 24, (uint8_t*)"Enter 4-digit PIN", 8, 1);
                    OLED_Refresh();
                }
                break;
            case MODE_PIN:
                if(key >= 1 && key <= 15) {
                    uint8_t digit = KeyToDigit(key);
                    if(pinIndex < 4) {
                        currentPin[pinIndex] = digit;
                        // 显示输入的数字
                        char digitStr[2] = {digit + '0', '\0'};
                        if(isPinSettingMode) {
                            // 旧PIN码输入，显示在第2行
                            OLED_ShowString(48 + pinIndex * 8, 8, (uint8_t*)digitStr, 8, 1);
                        } else {
                            // 普通PIN码输入，显示在第3行
                            OLED_ShowString(pinIndex * 8, 16, (uint8_t*)digitStr, 8, 1);
                        }
                        OLED_Refresh();
                        pinIndex++;

                        // 4个数字输入完成
                        if(pinIndex == 4) {
                            if(isPinSettingMode == 1) {
                                // 验证旧PIN码（用于修改PIN）
                                if(UI_CheckPinSetting(currentPin)) {
                                    // 验证成功，进入修改PIN码界面
                                    currentMode = MODE_PIN_SETTING;
                                    memset(newPin, 0, sizeof(newPin));
                                    pinIndex = 0;
                                    isPinSettingMode = 0;
                                    UI_ShowPINSetting();
                                } else {
                                    // 验证失败
                                    oldPinRetryCount++;
                                    if(oldPinRetryCount >= MAX_PIN_RETRY) {
                                        OLED_ShowString(0, 24, (uint8_t*)"Error!", 8, 1);
                                        OLED_Refresh();
                                        HAL_Delay(1000);
                                        OLED_ShowString(0, 24, (uint8_t*)"                ", 8, 1);
                                        OLED_Refresh();
                                        currentMode = MODE_MAIN;
                                        isPinSettingMode = 0;
                                        oldPinRetryCount = 0;
                                        ClearPIN();
                                    } else {
                                        OLED_ShowString(0, 24, (uint8_t*)"Error!", 8, 1);
                                        OLED_Refresh();
                                        HAL_Delay(1000);
                                        OLED_ShowString(0, 24, (uint8_t*)"                ", 8, 1);
                                        OLED_Refresh();
                                        pinIndex = 0;
                                        memset(currentPin, 0, sizeof(currentPin));
                                        OLED_ShowString(48, 8, (uint8_t*)"____", 8, 1);
                                        OLED_Refresh();
                                    }
                                }
                            } else if(isPinSettingMode == 2) {
                                // 验证PIN码（用于NFC注册）
                                if(UI_CheckPinSetting(currentPin)) {
                                    // 验证成功，进入NFC注册模式
                                    currentMode = MODE_NFC_REGISTER;
                                    isPinSettingMode = 0;
                                    OLED_ShowString(0, 0, (uint8_t*)"card to register", 8, 1);
                                    OLED_ShowString(0, 8, (uint8_t*)"                    ", 8, 1);
                                    OLED_ShowString(0, 16, (uint8_t*)"                    ", 8, 1);
                                    OLED_ShowString(0, 24, (uint8_t*)"                    ", 8, 1);
                                    OLED_Refresh();
                                    RegisterNFC();
                                } else {
                                    // 验证失败
                                    oldPinRetryCount++;
                                    if(oldPinRetryCount >= MAX_PIN_RETRY) {
                                        OLED_ShowString(0, 24, (uint8_t*)"Error!", 8, 1);
                                        OLED_Refresh();
                                        HAL_Delay(1000);
                                        OLED_ShowString(0, 24, (uint8_t*)"                ", 8, 1);
                                        OLED_Refresh();
                                        currentMode = MODE_MAIN;
                                        isPinSettingMode = 0;
                                        oldPinRetryCount = 0;
                                        ClearPIN();
                                    } else {
                                        OLED_ShowString(0, 24, (uint8_t*)"Error!", 8, 1);
                                        OLED_Refresh();
                                        HAL_Delay(1000);
                                        OLED_ShowString(0, 24, (uint8_t*)"                ", 8, 1);
                                        OLED_Refresh();
                                        pinIndex = 0;
                                        memset(currentPin, 0, sizeof(currentPin));
                                        OLED_ShowString(48, 8, (uint8_t*)"____", 8, 1);
                                        OLED_Refresh();
                                    }
                                }
                            } else if(isPinSettingMode == 3) {
                                // 验证PIN码（用于NFC注销）
                                if(UI_CheckPinSetting(currentPin)) {
                                    // 验证成功，进入NFC注销模式
                                    currentMode = MODE_NFC_UNREGISTER;
                                    isPinSettingMode = 0;
                                    OLED_ShowString(0, 0, (uint8_t*)"card to unregister", 8, 1);
                                    OLED_ShowString(0, 8, (uint8_t*)"                    ", 8, 1);
                                    OLED_ShowString(0, 16, (uint8_t*)"                    ", 8, 1);
                                    OLED_ShowString(0, 24, (uint8_t*)"                    ", 8, 1);
                                    OLED_Refresh();
                                    UnregisterNFC();
                                } else {
                                    // 验证失败
                                    oldPinRetryCount++;
                                    if(oldPinRetryCount >= MAX_PIN_RETRY) {
                                        OLED_ShowString(0, 24, (uint8_t*)"Error!", 8, 1);
                                        OLED_Refresh();
                                        HAL_Delay(1000);
                                        OLED_ShowString(0, 24, (uint8_t*)"                ", 8, 1);
                                        OLED_Refresh();
                                        currentMode = MODE_MAIN;
                                        isPinSettingMode = 0;
                                        oldPinRetryCount = 0;
                                        ClearPIN();
                                    } else {
                                        OLED_ShowString(0, 24, (uint8_t*)"Error!", 8, 1);
                                        OLED_Refresh();
                                        HAL_Delay(1000);
                                        OLED_ShowString(0, 24, (uint8_t*)"                ", 8, 1);
                                        OLED_Refresh();
                                        pinIndex = 0;
                                        memset(currentPin, 0, sizeof(currentPin));
                                        OLED_ShowString(48, 8, (uint8_t*)"____", 8, 1);
                                        OLED_Refresh();
                                    }
                                }
                            } else if(isPinSettingMode == 4) {
                                // 验证PIN码（用于指纹注册）
                                if(UI_CheckPinSetting(currentPin)) {
                                    // 验证成功，进入指纹注册模式
                                    currentMode = MODE_FINGER_REGISTER;
                                    isPinSettingMode = 0;
                                    // 完全清除OLED屏幕
                                    OLED_Clear();
                                    OLED_Refresh();
                                    OLED_ShowString(0, 0, (uint8_t*)"Fingerprint", 8, 1);
                                    OLED_ShowString(0, 8, (uint8_t*)"                ", 8, 1);
                                    OLED_ShowString(0, 16, (uint8_t*)"                ", 8, 1);
                                    OLED_ShowString(0, 24, (uint8_t*)"                ", 8, 1);
                                    OLED_Refresh();
                                    RegisterFingerprint();
                                } else {
                                    // 验证失败
                                    oldPinRetryCount++;
                                    if(oldPinRetryCount >= MAX_PIN_RETRY) {
                                        OLED_ShowString(0, 24, (uint8_t*)"Error!", 8, 1);
                                        OLED_Refresh();
                                        HAL_Delay(1000);
                                        OLED_ShowString(0, 24, (uint8_t*)"                ", 8, 1);
                                        OLED_Refresh();
                                        currentMode = MODE_MAIN;
                                        isPinSettingMode = 0;
                                        oldPinRetryCount = 0;
                                        ClearPIN();
                                    } else {
                                        OLED_ShowString(0, 24, (uint8_t*)"Error!", 8, 1);
                                        OLED_Refresh();
                                        HAL_Delay(1000);
                                        OLED_ShowString(0, 24, (uint8_t*)"                ", 8, 1);
                                        OLED_Refresh();
                                        pinIndex = 0;
                                        memset(currentPin, 0, sizeof(currentPin));
                                        OLED_ShowString(48, 16, (uint8_t*)"____", 8, 1);
                                        OLED_Refresh();
                                    }
                                }
                            } else if(isPinSettingMode == 5) {
                                // 验证PIN码（用于指纹删除）
                                if(UI_CheckPinSetting(currentPin)) {
                                    // 验证成功，进入指纹删除模式
                                    currentMode = MODE_FINGER_UNREGISTER;
                                    isPinSettingMode = 0;
                                    // 完全清除OLED屏幕
                                    OLED_Clear();
                                    OLED_Refresh();
                                    OLED_ShowString(0, 0, (uint8_t*)"Delete Fingerprint", 8, 1);
                                    OLED_ShowString(0, 8, (uint8_t*)"                ", 8, 1);
                                    OLED_ShowString(0, 16, (uint8_t*)"                ", 8, 1);
                                    OLED_ShowString(0, 24, (uint8_t*)"                ", 8, 1);
                                    OLED_Refresh();
                                    DeleteFingerprint();
                                } else {
                                    // 验证失败
                                    oldPinRetryCount++;
                                    if(oldPinRetryCount >= MAX_PIN_RETRY) {
                                        OLED_ShowString(0, 24, (uint8_t*)"Error!", 8, 1);
                                        OLED_Refresh();
                                        HAL_Delay(1000);
                                        OLED_ShowString(0, 24, (uint8_t*)"                ", 8, 1);
                                        OLED_Refresh();
                                        currentMode = MODE_MAIN;
                                        isPinSettingMode = 0;
                                        oldPinRetryCount = 0;
                                        ClearPIN();
                                    } else {
                                        OLED_ShowString(0, 24, (uint8_t*)"Error!", 8, 1);
                                        OLED_Refresh();
                                        HAL_Delay(1000);
                                        OLED_ShowString(0, 24, (uint8_t*)"                ", 8, 1);
                                        OLED_Refresh();
                                        pinIndex = 0;
                                        memset(currentPin, 0, sizeof(currentPin));
                                        OLED_ShowString(48, 16, (uint8_t*)"____", 8, 1);
                                        OLED_Refresh();
                                    }
                                }

                            } else {
                                // 验证普通PIN码
                                if(UI_CheckPIN(currentPin)) {
                                    Relay_On();
                                    OLED_ShowString(0, 24, (uint8_t*)"Success!", 8, 1);
                                    OLED_Refresh();
                                    HAL_Delay(RELAY_ON_TIME);
                                    // 清除success的显示和PIN码的显示
                                    OLED_ShowString(0, 24, (uint8_t*)"        ", 8, 1);
                                    OLED_ShowString(0, 16, (uint8_t*)"      ", 8, 1);
                                    OLED_Refresh();
                                    Relay_Off();
                                    currentMode = MODE_MAIN;
                                    isPinSettingMode = 0;
                                    pinRetryCount = 0;
                                } else {
                                    pinRetryCount++;
                                    if(pinRetryCount >= MAX_PIN_RETRY) {
                                        Beep_On();
                                        OLED_ShowString(0, 24, (uint8_t*)"Alarm!", 8, 1);
                                        OLED_Refresh();
                                        HAL_Delay(3000);
                                        Beep_Off();
                                        OLED_ShowString(0, 24, (uint8_t*)"        ", 8, 1);
                                        OLED_Refresh();
                                        currentMode = MODE_MAIN;
                                        isPinSettingMode = 0;
                                        pinRetryCount = 0;
                                    } else {
                                        OLED_ShowString(0, 24, (uint8_t*)"Error!", 8, 1);
                                        OLED_Refresh();
                                        HAL_Delay(1000);
                                        OLED_ShowString(0, 24, (uint8_t*)"        ", 8, 1);
                                        OLED_Refresh();
                                    }
                                    ClearPIN();
                                }
                            }
                        }
                    }
                } else if(key == 16) {
                    // 重新输入
                    pinIndex = 0;
                    memset(currentPin, 0, sizeof(currentPin));
                    if(isPinSettingMode == 1 || isPinSettingMode == 2 || isPinSettingMode == 3) {
                        // 旧PIN码输入或NFC操作，清除第2行
                        OLED_ShowString(48, 8, (uint8_t*)"____", 8, 1);
                    } else if(isPinSettingMode == 4 || isPinSettingMode == 5) {
                        // 指纹操作，清除第3行
                        OLED_ShowString(48, 16, (uint8_t*)"____", 8, 1);
                    } else {
                        // 普通PIN码输入，清除第3行
                        OLED_ShowString(0, 16, (uint8_t*)"____", 8, 1);
                    }
                    OLED_Refresh();
                }
                break;
            case MODE_PIN_SETTING:
                if(key >= 1 && key <= 15) {
                    uint8_t digit = KeyToDigit(key);
                    if(pinIndex < 4) {
                        newPin[pinIndex] = digit;
                        // 显示输入的数字
                        char digitStr[2] = {digit + '0', '\0'};
                        OLED_ShowString(48 + pinIndex * 8, 8, (uint8_t*)digitStr, 8, 1);
                        OLED_Refresh();
                        pinIndex++;

                        // 4个数字输入完成
                        if(pinIndex == 4) {
                            // 进入确认模式
                            currentMode = MODE_PIN_CONFIRM;
                            pinIndex = 0;
                            memset(confirmPin, 0, sizeof(confirmPin));
                            UI_ShowPINConfirm();
                        }
                    }
                } else if(key == 16) {
                    // 重新输入
                    pinIndex = 0;
                    memset(newPin, 0, sizeof(newPin));
                    OLED_ShowString(48, 8, (uint8_t*)"____", 8, 1);
                    OLED_Refresh();
                }
                break;
            case MODE_PIN_CONFIRM:
                if(key >= 1 && key <= 15) {
                    uint8_t digit = KeyToDigit(key);
                    if(pinIndex < 4) {
                        confirmPin[pinIndex] = digit;
                        // 显示输入的数字
                        char digitStr[2] = {digit + '0', '\0'};
                        OLED_ShowString(48 + pinIndex * 8, 8, (uint8_t*)digitStr, 8, 1);
                        OLED_Refresh();
                        pinIndex++;

                        // 4个数字输入完成
                        if(pinIndex == 4) {
                            // 保存新PIN码
                            if(UI_SaveNewPIN(newPin, confirmPin)) {
                                OLED_ShowString(0, 24, (uint8_t*)"Saved!", 8, 1);
                                OLED_Refresh();
                                HAL_Delay(1000);
                            } else {
                                OLED_ShowString(0, 24, (uint8_t*)"Mismatch!", 8, 1);
                                OLED_Refresh();
                                HAL_Delay(1000);
                            }

                            OLED_ShowString(0, 24, (uint8_t*)"                ", 8, 1);
                            OLED_Refresh();
                            // 完全清除OLED屏幕
                            OLED_Clear();
                            OLED_Refresh();
                            // 重新绘制主页面内容（welcome页面）
                            welcome();
                            currentMode = MODE_MAIN;
                            isPinSettingMode = 0;
                            ClearPIN();
                        }
                    }
                } else if(key == 16) {
                    // 重新输入
                    pinIndex = 0;
                    memset(confirmPin, 0, sizeof(confirmPin));
                    OLED_ShowString(48, 8, (uint8_t*)"____", 8, 1);
                    OLED_Refresh();
                }
                break;
        }
    }
  }
  /* USER CODE END 3 */
}

void SystemClock_Config(void)
{
  RCC_OscInitTypeDef RCC_OscInitStruct = {0};
  RCC_ClkInitTypeDef RCC_ClkInitStruct = {0};

  /** Initializes the RCC Oscillators according to the specified parameters
  * in the RCC_OscInitTypeDef structure.
  */
  RCC_OscInitStruct.OscillatorType = RCC_OSCILLATORTYPE_HSE;
  RCC_OscInitStruct.HSEState = RCC_HSE_ON;
  RCC_OscInitStruct.HSEPredivValue = RCC_HSE_PREDIV_DIV1;
  RCC_OscInitStruct.HSIState = RCC_HSI_ON;
  RCC_OscInitStruct.PLL.PLLState = RCC_PLL_ON;
  RCC_OscInitStruct.PLL.PLLSource = RCC_PLLSOURCE_HSE;
  RCC_OscInitStruct.PLL.PLLMUL = RCC_PLL_MUL9;
  if (HAL_RCC_OscConfig(&RCC_OscInitStruct) != HAL_OK)
  {
    Error_Handler();
  }

  /** Initializes the CPU, AHB and APB buses clocks
  */
  RCC_ClkInitStruct.ClockType = RCC_CLOCKTYPE_HCLK|RCC_CLOCKTYPE_SYSCLK
                              |RCC_CLOCKTYPE_PCLK1|RCC_CLOCKTYPE_PCLK2;
  RCC_ClkInitStruct.SYSCLKSource = RCC_SYSCLKSOURCE_PLLCLK;
  RCC_ClkInitStruct.AHBCLKDivider = RCC_SYSCLK_DIV1;
  RCC_ClkInitStruct.APB1CLKDivider = RCC_HCLK_DIV2;
  RCC_ClkInitStruct.APB2CLKDivider = RCC_HCLK_DIV1;

  if (HAL_RCC_ClockConfig(&RCC_ClkInitStruct, FLASH_LATENCY_2) != HAL_OK)
  {
    Error_Handler();
  }
}

void Error_Handler(void)
{
  __disable_irq();
  while (1)
  {
  }
}
